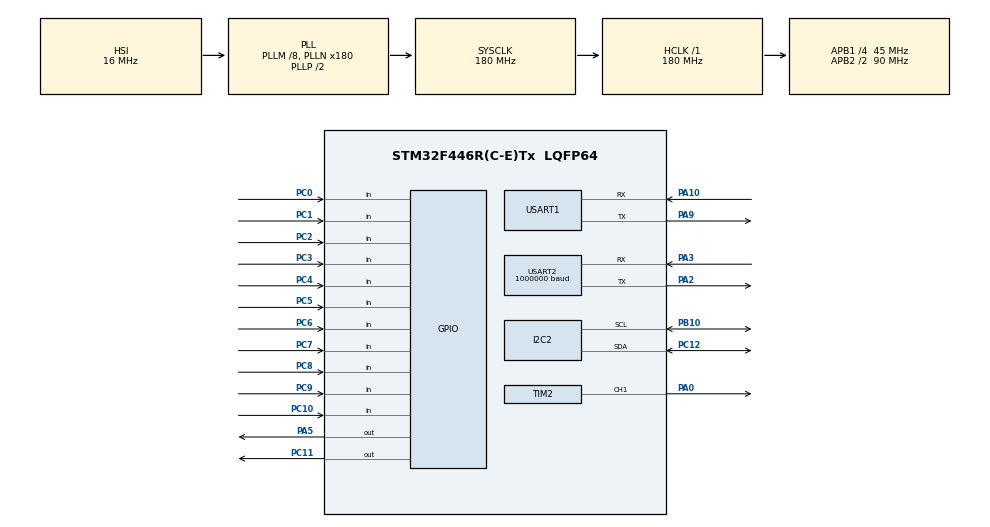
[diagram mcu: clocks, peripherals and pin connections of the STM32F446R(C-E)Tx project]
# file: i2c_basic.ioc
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Dma.Request0=USART2_TX
Dma.USART2_TX.0.Direction=DMA_MEMORY_TO_PERIPH
Dma.USART2_TX.0.FIFOMode=DMA_FIFOMODE_DISABLE
Dma.USART2_TX.0.Instance=DMA1_Stream6
Dma.USART2_TX.0.MemDataAlignment=DMA_MDATAALIGN_BYTE
Dma.USART2_TX.0.MemInc=DMA_MINC_ENABLE
Dma.USART2_TX.0.Mode=DMA_NORMAL
Dma.USART2_TX.0.PeriphDataAlignment=DMA_PDATAALIGN_BYTE
Dma.USART2_TX.0.PeriphInc=DMA_PINC_DISABLE
Dma.USART2_TX.0.Priority=DMA_PRIORITY_LOW
Mcu.Family=STM32F4
Mcu.Name=STM32F446R(C-E)Tx
Mcu.Package=LQFP64
NVIC.DMA1_Stream6_IRQn=true\:0\:0\:false\:false\:true\:false\:true
NVIC.PriorityGroup=NVIC_PRIORITYGROUP_4
NVIC.TIM6_DAC_IRQn=true\:0\:0\:false\:false\:true\:true\:true
NVIC.USART1_IRQn=true\:0\:0\:false\:false\:true\:true\:true
NVIC.USART2_IRQn=true\:0\:0\:false\:false\:true\:true\:true
PA0-WKUP.Signal=S_TIM2_CH1_ETR
PA10.Mode=Asynchronous
PA10.Signal=USART1_RX
PA2.Mode=Asynchronous
PA2.Signal=USART2_TX
PA3.Mode=Asynchronous
PA3.Signal=USART2_RX
PA5.Signal=GPIO_Output
PA9.Mode=Asynchronous
PA9.Signal=USART1_TX
PB10.Mode=I2C
PB10.Signal=I2C2_SCL
PC0.Signal=GPIO_Input
PC1.Signal=GPIO_Input
PC10.Signal=GPIO_Input
PC11.Signal=GPIO_Output
PC12.Mode=I2C
PC12.Signal=I2C2_SDA
PC2.Signal=GPIO_Input
PC3.Signal=GPIO_Input
PC4.Signal=GPIO_Input
PC5.Signal=GPIO_Input
PC6.Signal=GPIO_Input
PC7.Signal=GPIO_Input
PC8.Signal=GPIO_Input
PC9.Signal=GPIO_Input
ProjectManager.HeapSize=0x200
ProjectManager.StackSize=0x400
ProjectManager.TargetToolchain=STM32CubeIDE
RCC.AHBFreq_Value=180000000
RCC.APB1CLKDivider=RCC_HCLK_DIV4
RCC.APB1Freq_Value=45000000
RCC.APB1TimFreq_Value=90000000
RCC.APB2CLKDivider=RCC_HCLK_DIV2
RCC.APB2Freq_Value=90000000
RCC.APB2TimFreq_Value=180000000
RCC.CortexFreq_Value=180000000
RCC.HCLKFreq_Value=180000000
RCC.PLLM=8
RCC.PLLN=180
RCC.SYSCLKFreq_VALUE=180000000
RCC.SYSCLKSource=RCC_SYSCLKSOURCE_PLLCLK
RCC.USBFreq_Value=180000000
RCC.VCOOutputFreq_Value=360000000
SH.S_TIM2_CH1_ETR.0=TIM2_CH1,PWM Generation1 CH1
TIM2.Channel-PWM\ Generation1\ CH1=TIM_CHANNEL_1
TIM2.OCFastMode_PWM-PWM\ Generation1\ CH1=TIM_OCFAST_ENABLE
TIM2.OCMode_PWM-PWM\ Generation1\ CH1=TIM_OCMODE_PWM2
TIM2.Period=1
TIM2.Prescaler=9
TIM2.Pulse-PWM\ Generation1\ CH1=1
TIM6.Period=10000
TIM6.Prescaler=9000
USART1.VirtualMode=VM_ASYNC
USART2.BaudRate=1000000
USART2.VirtualMode=VM_ASYNC
VP_TIM2_VS_ClockSourceINT.Mode=Internal
VP_TIM6_VS_ClockSourceINT.Mode=Enable_Timer
board=custom

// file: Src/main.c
/* USER CODE BEGIN Header */
/**
  ******************************************************************************
  * @file           : main.c
  * @brief          : Main program body
  ******************************************************************************
  * @attention
  *
  * <h2><center>&copy; Copyright (c) 2019 STMicroelectronics.
  * All rights reserved.</center></h2>
  *
  * This software component is licensed by ST under BSD 3-Clause license,
  * the "License"; You may not use this file except in compliance with the
  * License. You may obtain a copy of the License at:
  *                        opensource.org/licenses/BSD-3-Clause
  *
  ******************************************************************************
  PINOUT:
  PB10 - SCL
  PC12 - SDA

	TODO:
	communication arduiono - stm to read i2c regs
	add new usart for arduino
	setup arduino
	enable frame sending
  */
/* USER CODE END Header */

#include "main.h"

/* USER CODE BEGIN Includes */
#include "ssd1306_tests.h"
#include <string.h>
#include "dwt_delay.h"
#include "regs.h"

#define SSD1306_USE_I2C 1
#define PUTCHAR_PROTOTYPE int __io_putchar(int ch)
/* USER CODE END Includes */

I2C_HandleTypeDef hi2c2;

TIM_HandleTypeDef htim2;
TIM_HandleTypeDef htim6;

UART_HandleTypeDef huart1;
UART_HandleTypeDef huart2;
DMA_HandleTypeDef hdma_usart2_tx;

/* USER CODE BEGIN PV */
#define ROWS 240
#define PIXS 320
//#define UART_BUFFER_SIZE 1

volatile uint16_t vsCnt, pxCnt;
volatile uint16_t line;
volatile uint8_t uart_buffer[16];
volatile uint8_t buffer_head, buffer_tail;

//uint8_t Received[UART_BUFFER_SIZE];
uint8_t Received[8];

uint8_t tab[ROWS][PIXS];

/* USER CODE END PV */

void SystemClock_Config(void);
static void MX_GPIO_Init(void);
static void MX_DMA_Init(void);
static void MX_I2C2_Init(void);
static void MX_USART2_UART_Init(void);
static void MX_TIM2_Init(void);
static void MX_TIM6_Init(void);
static void MX_USART1_UART_Init(void);

/* USER CODE BEGIN 0 */

uint8_t data;

void init() {
	for(int i = 0; i < OV7670_REG_NUM ; i ++){
		HAL_I2C_Mem_Write(&hi2c2, (0x21<<1), OV7670_reg[i][0], 1, &OV7670_reg[i][1], 1, 100);
		HAL_Delay(1);
		HAL_I2C_Mem_Read(&hi2c2, (0x21<<1), OV7670_reg[i][0], 1, &data, 1, 100);
	}
}

//static void wrSensorRegs8_8(const struct regval_list reglist[]){
//	const struct regval_list *next = reglist;
//	for(;;){
//		uint8_t reg_addr = (&next->reg_num);
//		uint8_t reg_val =(&next->value);
//		if((reg_addr==255)&&(reg_val==255))
//			break;
//		wrReg(reg_addr, reg_val);
//		next++;
//	}
//}

/* USER CODE END 0 */

int main(void)
{

  /* MCU Configuration--------------------------------------------------------*/

  /* Reset of all peripherals, Initializes the Flash interface and the Systick. */
  HAL_Init();

  /* Configure the system clock */
  SystemClock_Config();

  /* Initialize all configured peripherals */
  MX_GPIO_Init();
  MX_DMA_Init();
  MX_I2C2_Init();
  MX_USART2_UART_Init();
  MX_TIM2_Init();
  MX_TIM6_Init();
  MX_USART1_UART_Init();
  /* USER CODE BEGIN 2 */

//  HAL_TIM_Base_Start_IT(&htim6);
  HAL_TIM_Base_Start(&htim2);
  HAL_TIM_PWM_Start(&htim2,TIM_CHANNEL_1);
  HAL_UART_Receive_IT(&huart2, &Received, 1);

  HAL_Delay(100);
  init();
  printf("start\r\n");

  /* USER CODE END 2 */

  /* Infinite loop */
  /* USER CODE BEGIN WHILE */

  uint32_t data;
  buffer_head, buffer_tail = 0;

  while (1)
  {
    /* USER CODE END WHILE */

    /* USER CODE BEGIN 3 */
	  // send info from python which lines are broken, resend, hold until all ok
	  while(HAL_GPIO_ReadPin(GPIOC, GPIO_PIN_10) == GPIO_PIN_SET );
	  while(HAL_GPIO_ReadPin(GPIOC, GPIO_PIN_10) == GPIO_PIN_RESET );

	  while(HAL_GPIO_ReadPin(GPIOC, GPIO_PIN_10) == GPIO_PIN_SET ){

		 while( (HAL_GPIO_ReadPin(GPIOC, GPIO_PIN_9) == GPIO_PIN_SET ) ){
			 while( (GPIOC->IDR & GPIO_PIN_8) == 0 );
			 tab[line][pxCnt++] = (GPIOC->IDR & 0xff);
			 while( (GPIOC->IDR & GPIO_PIN_8) == GPIO_PIN_8 );

			 while( (GPIOC->IDR & GPIO_PIN_8) == 0 );

			 while( (GPIOC->IDR & GPIO_PIN_8) == GPIO_PIN_8 );
		 }

		 pxCnt = 0;

		 if(line == 0){
			 HAL_GPIO_TogglePin(GPIOC, GPIO_PIN_11);
			 HAL_GPIO_TogglePin(GPIOC, GPIO_PIN_11);
		 }

		 if(++line > ROWS){
			 break;
		 }
		 //line low
		 while( HAL_GPIO_ReadPin(GPIOC, GPIO_PIN_9) == GPIO_PIN_RESET && (line < ROWS));

	  }//end of VS

	  	printf("start\r\n");
		HAL_GPIO_TogglePin(GPIOC, GPIO_PIN_11);

		for(uint8_t i = 0; i < ROWS; i++){
			printf("[%d,", i);

			for(uint16_t j = 0; j < PIXS; j += 4){
				uint32_t n = (tab[i][j] << 24) | (tab[i][j+1] << 16) | (tab[i][j+2] << 8) | tab[i][j+3];
				printf("%08x,", n);
			}
			printf("%d\r\n", i);
		}
		HAL_GPIO_TogglePin(GPIOC, GPIO_PIN_11);

		HAL_UART_Transmit(&huart1, "start\r\n", 7, 100);

//	  HAL_DMA_Start(&hdma_usart2_tx, (uint32_t)&data, (uint32_t)&(huart2.Instance->DR), 8);

		line = 0;

	 }// MAIN while
  /* USER CODE END 3 */
}

void SystemClock_Config(void)
{
  RCC_OscInitTypeDef RCC_OscInitStruct = {0};
  RCC_ClkInitTypeDef RCC_ClkInitStruct = {0};

  /** Configure the main internal regulator output voltage
  */
  __HAL_RCC_PWR_CLK_ENABLE();
  __HAL_PWR_VOLTAGESCALING_CONFIG(PWR_REGULATOR_VOLTAGE_SCALE1);
  /** Initializes the CPU, AHB and APB busses clocks
  */
  RCC_OscInitStruct.OscillatorType = RCC_OSCILLATORTYPE_HSI;
  RCC_OscInitStruct.HSIState = RCC_HSI_ON;
  RCC_OscInitStruct.HSICalibrationValue = RCC_HSICALIBRATION_DEFAULT;
  RCC_OscInitStruct.PLL.PLLState = RCC_PLL_ON;
  RCC_OscInitStruct.PLL.PLLSource = RCC_PLLSOURCE_HSI;
  RCC_OscInitStruct.PLL.PLLM = 8;
  RCC_OscInitStruct.PLL.PLLN = 180;
  RCC_OscInitStruct.PLL.PLLP = RCC_PLLP_DIV2;
  RCC_OscInitStruct.PLL.PLLQ = 2;
  RCC_OscInitStruct.PLL.PLLR = 2;
  if (HAL_RCC_OscConfig(&RCC_OscInitStruct) != HAL_OK)
  {
    Error_Handler();
  }
  /** Activate the Over-Drive mode
  */
  if (HAL_PWREx_EnableOverDrive() != HAL_OK)
  {
    Error_Handler();
  }
  /** Initializes the CPU, AHB and APB busses clocks
  */
  RCC_ClkInitStruct.ClockType = RCC_CLOCKTYPE_HCLK|RCC_CLOCKTYPE_SYSCLK
                              |RCC_CLOCKTYPE_PCLK1|RCC_CLOCKTYPE_PCLK2;
  RCC_ClkInitStruct.SYSCLKSource = RCC_SYSCLKSOURCE_PLLCLK;
  RCC_ClkInitStruct.AHBCLKDivider = RCC_SYSCLK_DIV1;
  RCC_ClkInitStruct.APB1CLKDivider = RCC_HCLK_DIV4;
  RCC_ClkInitStruct.APB2CLKDivider = RCC_HCLK_DIV2;

  if (HAL_RCC_ClockConfig(&RCC_ClkInitStruct, FLASH_LATENCY_5) != HAL_OK)
  {
    Error_Handler();
  }
}

static void MX_I2C2_Init(void)
{

  hi2c2.Instance = I2C2;
  hi2c2.Init.ClockSpeed = 100000;
  hi2c2.Init.DutyCycle = I2C_DUTYCYCLE_2;
  hi2c2.Init.OwnAddress1 = 0;
  hi2c2.Init.AddressingMode = I2C_ADDRESSINGMODE_7BIT;
  hi2c2.Init.DualAddressMode = I2C_DUALADDRESS_DISABLE;
  hi2c2.Init.OwnAddress2 = 0;
  hi2c2.Init.GeneralCallMode = I2C_GENERALCALL_DISABLE;
  hi2c2.Init.NoStretchMode = I2C_NOSTRETCH_DISABLE;
  if (HAL_I2C_Init(&hi2c2) != HAL_OK)
  {
    Error_Handler();
  }

}

static void MX_TIM2_Init(void)
{

  TIM_ClockConfigTypeDef sClockSourceConfig = {0};
  TIM_MasterConfigTypeDef sMasterConfig = {0};
  TIM_OC_InitTypeDef sConfigOC = {0};

  htim2.Instance = TIM2;
  htim2.Init.Prescaler = 9;
  htim2.Init.CounterMode = TIM_COUNTERMODE_UP;
  htim2.Init.Period = 1;
  htim2.Init.ClockDivision = TIM_CLOCKDIVISION_DIV1;
  htim2.Init.AutoReloadPreload = TIM_AUTORELOAD_PRELOAD_DISABLE;
  if (HAL_TIM_Base_Init(&htim2) != HAL_OK)
  {
    Error_Handler();
  }
  sClockSourceConfig.ClockSource = TIM_CLOCKSOURCE_INTERNAL;
  if (HAL_TIM_ConfigClockSource(&htim2, &sClockSourceConfig) != HAL_OK)
  {
    Error_Handler();
  }
  if (HAL_TIM_PWM_Init(&htim2) != HAL_OK)
  {
    Error_Handler();
  }
  sMasterConfig.MasterOutputTrigger = TIM_TRGO_RESET;
  sMasterConfig.MasterSlaveMode = TIM_MASTERSLAVEMODE_DISABLE;
  if (HAL_TIMEx_MasterConfigSynchronization(&htim2, &sMasterConfig) != HAL_OK)
  {
    Error_Handler();
  }
  sConfigOC.OCMode = TIM_OCMODE_PWM2;
  sConfigOC.Pulse = 1;
  sConfigOC.OCPolarity = TIM_OCPOLARITY_HIGH;
  sConfigOC.OCFastMode = TIM_OCFAST_ENABLE;
  if (HAL_TIM_PWM_ConfigChannel(&htim2, &sConfigOC, TIM_CHANNEL_1) != HAL_OK)
  {
    Error_Handler();
  }
  HAL_TIM_MspPostInit(&htim2);

}

static void MX_TIM6_Init(void)
{

  TIM_MasterConfigTypeDef sMasterConfig = {0};

  htim6.Instance = TIM6;
  htim6.Init.Prescaler = 9000;
  htim6.Init.CounterMode = TIM_COUNTERMODE_UP;
  htim6.Init.Period = 10000;
  htim6.Init.AutoReloadPreload = TIM_AUTORELOAD_PRELOAD_DISABLE;
  if (HAL_TIM_Base_Init(&htim6) != HAL_OK)
  {
    Error_Handler();
  }
  sMasterConfig.MasterOutputTrigger = TIM_TRGO_RESET;
  sMasterConfig.MasterSlaveMode = TIM_MASTERSLAVEMODE_DISABLE;
  if (HAL_TIMEx_MasterConfigSynchronization(&htim6, &sMasterConfig) != HAL_OK)
  {
    Error_Handler();
  }
  /* USER CODE BEGIN TIM6_Init 2 */
  printf("tim setup done 6\r\n");

  /* USER CODE END TIM6_Init 2 */

}

static void MX_USART1_UART_Init(void)
{

  huart1.Instance = USART1;
  huart1.Init.BaudRate = 256000;
  huart1.Init.WordLength = UART_WORDLENGTH_8B;
  huart1.Init.StopBits = UART_STOPBITS_1;
  huart1.Init.Parity = UART_PARITY_NONE;
  huart1.Init.Mode = UART_MODE_TX_RX;
  huart1.Init.HwFlowCtl = UART_HWCONTROL_NONE;
  huart1.Init.OverSampling = UART_OVERSAMPLING_16;
  if (HAL_UART_Init(&huart1) != HAL_OK)
  {
    Error_Handler();
  }

}

static void MX_USART2_UART_Init(void)
{

  huart2.Instance = USART2;
  huart2.Init.BaudRate = 230400; //115200
  huart2.Init.WordLength = UART_WORDLENGTH_8B;
  huart2.Init.StopBits = UART_STOPBITS_1;
  huart2.Init.Parity = UART_PARITY_NONE;
  huart2.Init.Mode = UART_MODE_TX_RX;
  huart2.Init.HwFlowCtl = UART_HWCONTROL_NONE;
  huart2.Init.OverSampling = UART_OVERSAMPLING_16;
  if (HAL_UART_Init(&huart2) != HAL_OK)
  {
    Error_Handler();
  }

}

static void MX_DMA_Init(void)
{
  /* DMA controller clock enable */
  __HAL_RCC_DMA1_CLK_ENABLE();

  /* DMA interrupt init */
  /* DMA1_Stream6_IRQn interrupt configuration */
  HAL_NVIC_SetPriority(DMA1_Stream6_IRQn, 0, 0);
  HAL_NVIC_EnableIRQ(DMA1_Stream6_IRQn);

}

static void MX_GPIO_Init(void)
{
  GPIO_InitTypeDef GPIO_InitStruct = {0};

  /* GPIO Ports Clock Enable */
  __HAL_RCC_GPIOC_CLK_ENABLE();
  __HAL_RCC_GPIOA_CLK_ENABLE();
  __HAL_RCC_GPIOB_CLK_ENABLE();

  /*Configure GPIO pin Output Level */
  HAL_GPIO_WritePin(GPIOA, GPIO_PIN_5, GPIO_PIN_RESET);

  /*Configure GPIO pin Output Level */
  HAL_GPIO_WritePin(GPIOC, GPIO_PIN_11, GPIO_PIN_RESET);

  /*Configure GPIO pins : PC0 PC1 PC2 PC3
                           PC4 PC5 PC6 PC7
                           PC8 PC9 PC10 */
  GPIO_InitStruct.Pin = GPIO_PIN_0|GPIO_PIN_1|GPIO_PIN_2|GPIO_PIN_3
                          |GPIO_PIN_4|GPIO_PIN_5|GPIO_PIN_6|GPIO_PIN_7
                          |GPIO_PIN_8|GPIO_PIN_9|GPIO_PIN_10;
  GPIO_InitStruct.Mode = GPIO_MODE_INPUT;
  GPIO_InitStruct.Pull = GPIO_NOPULL;
  HAL_GPIO_Init(GPIOC, &GPIO_InitStruct);

  /*Configure GPIO pin : PA5 */
  GPIO_InitStruct.Pin = GPIO_PIN_5;
  GPIO_InitStruct.Mode = GPIO_MODE_OUTPUT_PP;
  GPIO_InitStruct.Pull = GPIO_NOPULL;
  GPIO_InitStruct.Speed = GPIO_SPEED_FREQ_VERY_HIGH;
  HAL_GPIO_Init(GPIOA, &GPIO_InitStruct);

  /*Configure GPIO pin : PC11 */
  GPIO_InitStruct.Pin = GPIO_PIN_11;
  GPIO_InitStruct.Mode = GPIO_MODE_OUTPUT_PP;
  GPIO_InitStruct.Pull = GPIO_NOPULL;
  GPIO_InitStruct.Speed = GPIO_SPEED_FREQ_LOW;
  HAL_GPIO_Init(GPIOC, &GPIO_InitStruct);

}

/* USER CODE BEGIN 4 */

//change buffer size to 1 and collect each char in circle buffer
void HAL_UART_RxCpltCallback(UART_HandleTypeDef *huart){
//	buffer_head &= 0x1F;
//	todo check in general how this trick work on simple ++ and delay

//	if(Received[0] == 'r' || (buffer_head + 1) & 0x1f == buffer_tail){
//		printf("Reading...\r\n");
//		while(buffer_tail !=  buffer_head){
//			buffer_tail &= 0x1F;
////			char c = uart_buffer[buffer_tail++];
//			printf((char) uart_buffer[buffer_tail++]);
//			printf("\r\n");
//		}
//	} else {
//
//	uart_buffer[buffer_head++] = Received[0];
	char c = Received[0];
	printf(c);

//	if(buffer_head == 6){
//		for(int i = 0; i< 6 ; i++){
//			printf(uart_buffer[i]);
//		}
//		printf("\r\n");
//
//		buffer_head = 0;
//	}

//	printf(buf);
//	printf("\r\n");

/*
	uint8_t string_size;
	uint8_t string_to_send[32];

	char * token = strtok(Received, ",");
	char * action_type = token;
	token = strtok(NULL, ",");
	uint8_t reg = atoi(token,10);
	token = strtok(NULL, ",");
	uint8_t val = atoi(token, 10);

	if((char)action_type[0] == 'r'){
		HAL_I2C_Mem_Read(&hi2c2, (0x21<<1), reg, 1, &data, 1, 100);
		string_size = sprintf(string_to_send, "read reg: %d, val: %d\n\r", reg, data);
		HAL_UART_Transmit(&huart1, string_to_send, string_size, 100);
	} else{

		string_size = sprintf(string_to_send, "reg: %d, val: %d\n\r", reg, val);
		HAL_UART_Transmit(&huart1, string_to_send, string_size, 100);

		HAL_I2C_Mem_Read(&hi2c2, (0x21<<1), reg, 1, &data, 1, 100);
		string_size = sprintf(string_to_send, "before reg: %d, val: %d\n\r", reg, data);
		HAL_UART_Transmit(&huart1, string_to_send, string_size, 100);

		HAL_I2C_Mem_Write(&hi2c2, (0x21<<1), reg, 1, val, 1, 100);

		HAL_I2C_Mem_Read(&hi2c2, (0x21<<1), reg, 1, &data, 1, 100);
		string_size = sprintf(string_to_send, "after reg: %d, val: %d\n\r", reg, data);
		HAL_UART_Transmit(&huart1, string_to_send, string_size, 100);
	}

*/
//	} //else

//	printf("tail: %d \r\n", buffer_tail);
//	printf("head: %d \r\n", buffer_head);
//	printf(uart_buffer);
//	printf("\r\n");

	HAL_UART_Receive_IT(&huart2, &Received, 1); // Ponowne włączenie nasłuchiwania
}

static inline void DWT_Delay(uint32_t us) // microseconds
{
    uint32_t startTick = DWT->CYCCNT,
             delayTicks = us * (SystemCoreClock/1000000);

    while (DWT->CYCCNT - startTick < delayTicks);
}

PUTCHAR_PROTOTYPE
{
 /* Place your implementation of fputc here */
 /* e.g. write a character to the USART2 and Loop until the end of transmission */
 HAL_UART_Transmit(&huart2, (uint8_t *)&ch, 1, 1);

return ch;
}

/* USER CODE END 4 */

void Error_Handler(void)
{
  /* USER CODE BEGIN Error_Handler_Debug */
  /* User can add his own implementation to report the HAL error return state */
	printf("ERROR!");

  /* USER CODE END Error_Handler_Debug */
}

/************************ (C) COPYRIGHT STMicroelectronics *****END OF FILE****/
